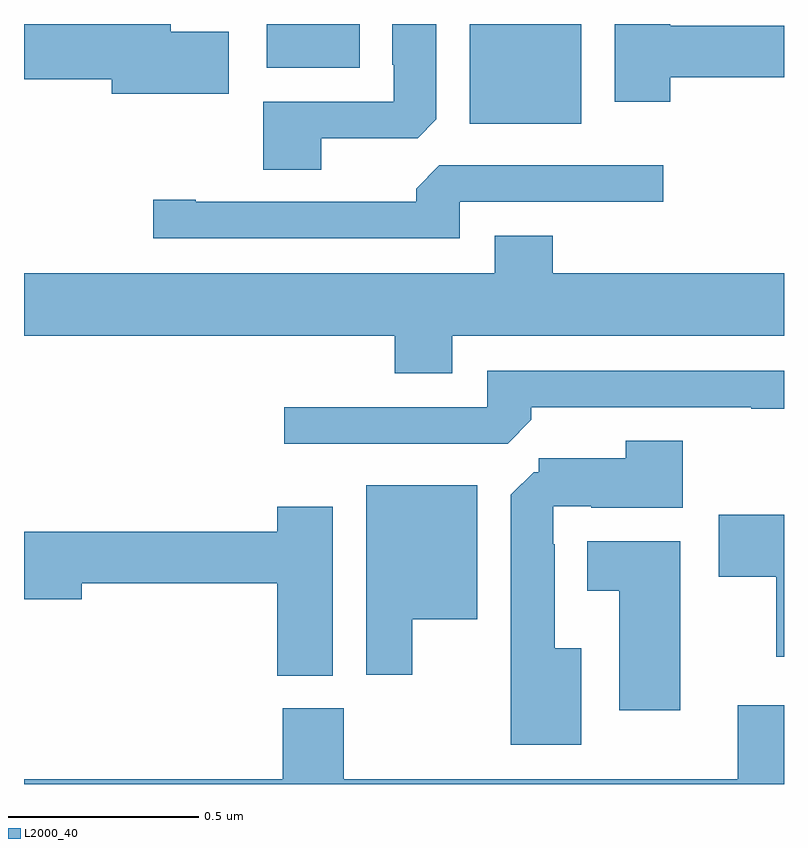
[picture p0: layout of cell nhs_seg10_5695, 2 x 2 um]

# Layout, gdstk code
import gdstk
lib = gdstk.Library(unit=1e-6, precision=1e-09)
def R(c, l, rs):  # rectangles x0, y0, x1, y1
    for r in rs: c.add(gdstk.rectangle(r[:2], r[2:], *l))
def P(c, l, *ps):  # polygons
    for p in ps: c.add(gdstk.Polygon(p, *l))
L2000_40 = (2000, 40)

nhs_seg10_5695 = lib.new_cell('nhs_seg10_5695')
R(nhs_seg10_5695, L2000_40, [(183.173,1270.238,183.466,1270.5), (182.639,1270.385,182.884,1270.5)])
P(nhs_seg10_5695, L2000_40, [(182.782,1270.2),(183.036,1270.2),(183.085,1270.249),(183.085,1270.5),(182.969,1270.5),(182.969,1270.393),(182.973,1270.393),(182.973,1270.296),(182.63,1270.296),(182.63,1270.117),(182.782,1270.117)],
  [(183.701,1270.36),(184,1270.36),(184,1270.496),(183.701,1270.496),(183.701,1270.5),(183.554,1270.5),(183.554,1270.296),(183.701,1270.296)],
  [(182.539,1270.479),(182.386,1270.479),(182.386,1270.5),(182,1270.5),(182,1270.355),(182.231,1270.355),(182.231,1270.316),(182.539,1270.316)],
  [(183.147,1270.032),(183.682,1270.032),(183.682,1270.128),(183.093,1270.128),(183.032,1270.066),(183.032,1270.032),(182.452,1270.032),(182.452,1270.037),(182.34,1270.037),(182.34,1269.936),(183.147,1269.936)],
  [(183.127,1269.68),(184,1269.68),(184,1269.844),(183.392,1269.844),(183.392,1269.943),(183.239,1269.943),(183.239,1269.844),(182,1269.844),(182,1269.68),(182.975,1269.68),(182.975,1269.581),(183.127,1269.581)],
  [(183.335,1269.458),(183.335,1269.492),(183.914,1269.492),(183.914,1269.487),(184,1269.487),(184,1269.588),(183.219,1269.588),(183.219,1269.492),(182.685,1269.492),(182.685,1269.396),(183.273,1269.396)],
  [(183.466,1268.857),(183.397,1268.857),(183.397,1269.131),(183.393,1269.131),(183.393,1269.231),(183.493,1269.231),(183.493,1269.227),(183.733,1269.227),(183.733,1269.403),(183.584,1269.403),(183.584,1269.357),(183.354,1269.357),(183.354,1269.321),(183.341,1269.321),(183.281,1269.261),(183.281,1268.603),(183.466,1268.603)],
  [(183.022,1268.933),(183.193,1268.933),(183.193,1269.286),(182.9,1269.286),(182.9,1268.787),(183.022,1268.787)],
  [(182.812,1269.229),(182.666,1269.229),(182.666,1269.164),(182,1269.164),(182,1268.986),(182.152,1268.986),(182.152,1269.028),(182.666,1269.028),(182.666,1268.785),(182.812,1268.785)],
  [(184,1269.208),(183.828,1269.208),(183.828,1269.046),(183.98,1269.046),(183.98,1268.835),(184,1268.835)],
  [(183.727,1269.139),(183.482,1269.139),(183.482,1269.008),(183.566,1269.008),(183.566,1268.694),(183.727,1268.694)],
  [(184,1268.707),(183.878,1268.707),(183.878,1268.512),(182.841,1268.512),(182.841,1268.7),(182.681,1268.7),(182.681,1268.512),(182,1268.512),(182,1268.5),(184,1268.5)])

lib.write_gds('nhs_seg10_5695.gds')
